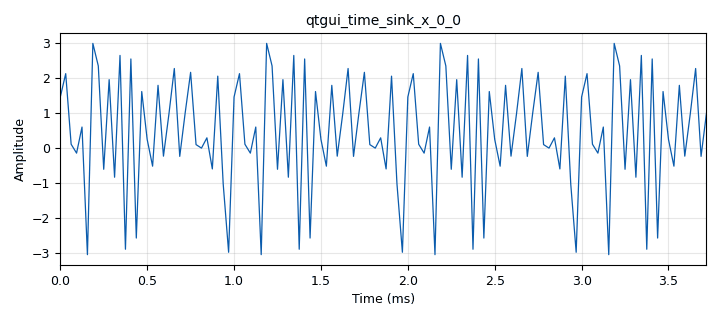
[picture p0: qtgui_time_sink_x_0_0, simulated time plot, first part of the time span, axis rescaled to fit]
options:
  parameters:
    author: santoshsoni
    generate_options: qt_gui
    id: modulations
    output_language: python
    title: Not titled yet
  states: {}

blocks:
- name: samp_rate
  id: variable
  parameters:
    value: '32000'
  states: {}
- name: analog_phase_modulator_fc_0_0
  id: analog_phase_modulator_fc
  parameters:
    sensitivity: '0.4'
  states: {}
- name: analog_pll_carriertracking_cc_0_0
  id: analog_pll_carriertracking_cc
  parameters:
    max_freq: 2*3.14*4000
    min_freq: 2*3.14*6000
    w: 2*3.14*100
  states: {}
- name: analog_sig_source_x_0
  id: analog_sig_source_x
  parameters:
    amp: '1'
    freq: '1000'
    offset: '0'
    phase: '0'
    samp_rate: samp_rate
    type: float
    waveform: analog.GR_COS_WAVE
  states: {}
- name: blocks_complex_to_arg_0
  id: blocks_complex_to_arg
  parameters: {}
  states: {}
- name: qtgui_time_sink_x_0_0
  id: qtgui_time_sink_x
  parameters:
    size: '1024'
    srate: samp_rate
    type: float
  states: {}

connections:
- [analog_phase_modulator_fc_0_0, '0', analog_pll_carriertracking_cc_0_0, '0']
- [analog_pll_carriertracking_cc_0_0, '0', blocks_complex_to_arg_0, '0']
- [analog_sig_source_x_0, '0', analog_phase_modulator_fc_0_0, '0']
- [blocks_complex_to_arg_0, '0', qtgui_time_sink_x_0_0, '0']

metadata:
  file_format: 1
  grc_version: 3.10.12.0
